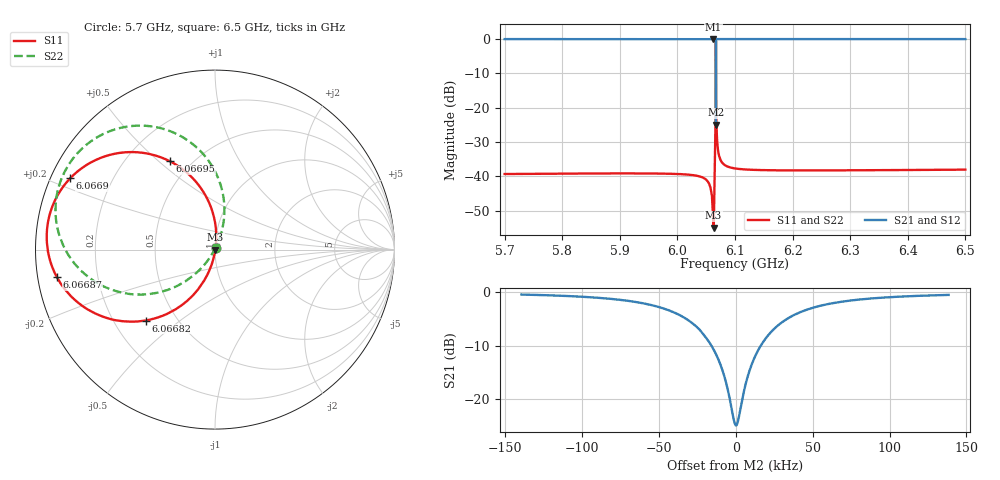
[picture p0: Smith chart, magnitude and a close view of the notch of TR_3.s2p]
! Sonnet Data File
! From: em Version : 14.52
! From Project: TR_3
! Data is De-embedded
! Data File Written: 01/09/2019 00:22:44
!< HDATE 01/08/2019 00:53:12
!< MDATE 01/08/2019 23:20:17
# GHZ S MA R 50.00000
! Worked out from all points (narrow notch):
!   898 points, 5.7 GHz to 6.5 GHz, reference 50 ohm
!   highest |S21| = 0.00 dB at 6.06255 GHz (marker M1); lowest = -24.9 dB at 6.06688 GHz (marker M2)
!   notch at M2: 24.9 dB deep, 23.4 kHz wide at half that depth
!   lowest |S11| = -54.9 dB at 6.0629 GHz (marker M3), VSWR 1.00, Z = 50.2 - j0.0252 ohm
!   |S11| at or under -10 dB: start of sweep to 6.06675 GHz; 6.06702 GHz to end of sweep
!   |S22| runs from -54.8 to -0.5 dB; largest |S21 - S12| = 0
!   S11 on the Smith chart (normalised r, x): 5.7 GHz: 1.01, +0.02; 6.06682 GHz: 0.33, -0.38; 6.06687 GHz: 0.06, -0.09; 6.0669 GHz: 0.06, +0.23; 6.06695 GHz: 0.38, +0.54; 6.5 GHz: 1.01, +0.02
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5.7  0.01085 74.1  0.9999 -16.4  0.9999 -16.4  0.01085 73.1
!< P1 F=5.7 Eeff=(5.67073457 -5.1701e-6) Z0=(51.6851264 2.35637e-5) R=0.01127159 C=0.00226057
!< P2 F=5.7 Eeff=(5.6707737 -5.1701e-6) Z0=(53.1170083 2.42156e-5) R=0.00956353 C=0.00266197
5.835  0.01103 73.6  0.9999 -16.8  0.9999 -16.8  0.01103 72.7
5.9675  0.01102 73.0  0.9999 -17.2  0.9999 -17.2  0.01102 72.5
6.045  0.009558 71.2  1 -17.5  1 -17.5  0.009558 73.8
6.06255  0.002031 19.2  1 -18.1  1 -18.1  0.002044 124.8
6.0629  0.001797 -8.0  1 -18.1  1 -18.1  0.001813 151.8
6.066  0.0404 -98.6  0.999 -20.5  0.999 -20.5  0.04042 -122.8
6.0667  0.2327 -112.5  0.9688 -31.6  0.9688 -31.6  0.2328 -132.5
6.066816  0.5533 -134.4  0.8097 -51.7  0.8097 -51.7  0.5534 -153.9
6.066846  0.7559 -151.9  0.5986 -67.0  0.5986 -67.0  0.756 -171.1
6.066865  0.8943 -170.2  0.3204 -80.0  0.3204 -80.0  0.8945 170.7
6.066882  0.943 171.5  0.05691 -19.5  0.05691 -19.5  0.9432 152.4
6.066897  0.8995 153.8  0.3063 44.2  0.3063 44.2  0.8997 134.8
6.066918  0.759 134.8  0.5962 31.1  0.5962 31.1  0.7592 115.9
6.06695  0.5535 117.1  0.8111 15.4  0.8111 15.4  0.5536 98.3
6.0671  0.2156 94.1  0.9739 -5.7  0.9739 -5.7  0.2156 75.9
6.06815  0.04758 82.0  0.9988 -15.4  0.9988 -15.4  0.04758 67.3
6.0725  0.01976 77.3  0.9998 -17.0  0.9998 -17.0  0.01976 68.7
6.1  0.01309 74.1  0.9999 -17.5  0.9999 -17.5  0.01309 70.9
6.235  0.01224 72.9  0.9999 -17.9  0.9999 -17.9  0.01224 71.2
6.3675  0.01237 72.4  0.9999 -18.3  0.9999 -18.3  0.01237 70.9
6.5  0.01257 72.0  0.9999 -18.7  0.9999 -18.7  0.01257 70.5
